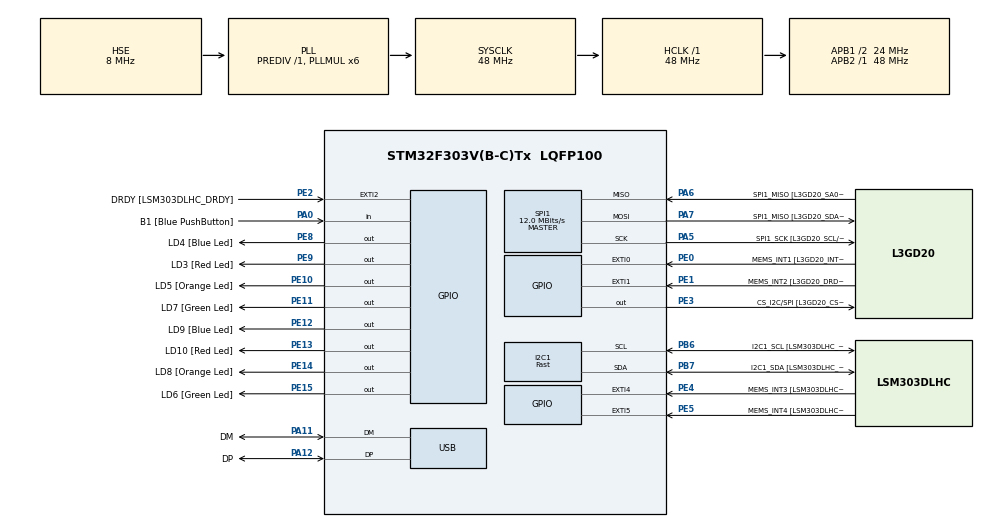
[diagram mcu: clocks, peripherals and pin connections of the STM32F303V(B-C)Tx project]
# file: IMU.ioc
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I2C1.I2C_Speed_Mode=I2C_Fast
I2C1.Timing=0x0000020B
I2C1.Timing-I2C=0x2000090E
Mcu.Family=STM32F3
Mcu.Name=STM32F303V(B-C)Tx
Mcu.Package=LQFP100
NVIC.PriorityGroup=NVIC_PRIORITYGROUP_0
NVIC.USB_LP_CAN_RX0_IRQn=true\:0\:0\:false\:false\:true\:false\:true
PA0.GPIO_Label=B1 [Blue PushButton]
PA0.Signal=GPIO_Input
PA11.GPIO_Label=DM
PA11.Mode=Device
PA11.Signal=USB_DM
PA12.GPIO_Label=DP
PA12.Mode=Device
PA12.Signal=USB_DP
PA13.GPIO_Label=SWDIO
PA13.Mode=Serial_Wire
PA13.Signal=SYS_JTMS-SWDIO
PA14.GPIO_Label=SWCLK
PA14.Mode=Serial_Wire
PA14.Signal=SYS_JTCK-SWCLK
PA5.GPIO_Label=SPI1_SCK [L3GD20_SCL/SPC]
PA5.Mode=Full_Duplex_Master
PA5.Signal=SPI1_SCK
PA6.GPIO_Label=SPI1_MISO [L3GD20_SA0/SDO]
PA6.Mode=Full_Duplex_Master
PA6.Signal=SPI1_MISO
PA7.GPIO_Label=SPI1_MISO [L3GD20_SDA/SDI/SDO]
PA7.Mode=Full_Duplex_Master
PA7.Signal=SPI1_MOSI
PB3.GPIO_Label=SWO
PB3.Signal=SYS_JTDO-TRACESWO
PB6.GPIO_Label=I2C1_SCL [LSM303DLHC_SCL]
PB6.Mode=I2C
PB6.Signal=I2C1_SCL
PB7.GPIO_Label=I2C1_SDA [LSM303DLHC_SDA]
PB7.Mode=I2C
PB7.Signal=I2C1_SDA
PC14-OSC32_IN.GPIO_Label=OSC32_IN
PC14-OSC32_IN.Signal=RCC_OSC32_IN
PC15-OSC32_OUT.GPIO_Label=OSC32_OUT
PC15-OSC32_OUT.Signal=RCC_OSC32_OUT
PE0.GPIO_Label=MEMS_INT1 [L3GD20_INT1]
PE0.GPIO_ModeDefaultEXTI=GPIO_MODE_EVT_RISING
PE0.Signal=GPXTI0
PE1.GPIO_Label=MEMS_INT2 [L3GD20_DRDY/INT2]
PE1.GPIO_ModeDefaultEXTI=GPIO_MODE_EVT_RISING
PE1.Signal=GPXTI1
PE10.GPIO_Label=LD5 [Orange Led]
PE10.Signal=GPIO_Output
PE11.GPIO_Label=LD7 [Green Led]
PE11.Signal=GPIO_Output
PE12.GPIO_Label=LD9 [Blue Led]
PE12.Signal=GPIO_Output
PE13.GPIO_Label=LD10 [Red Led]
PE13.Signal=GPIO_Output
PE14.GPIO_Label=LD8 [Orange Led]
PE14.Signal=GPIO_Output
PE15.GPIO_Label=LD6 [Green Led]
PE15.Signal=GPIO_Output
PE2.GPIO_Label=DRDY [LSM303DLHC_DRDY]
PE2.GPIO_ModeDefaultEXTI=GPIO_MODE_EVT_RISING
PE2.Signal=GPXTI2
PE3.GPIO_Label=CS_I2C/SPI [L3GD20_CS_I2C/SPI]
PE3.Signal=GPIO_Output
PE4.GPIO_Label=MEMS_INT3 [LSM303DLHC_INT1]
PE4.GPIO_ModeDefaultEXTI=GPIO_MODE_EVT_RISING
PE4.Signal=GPXTI4
PE5.GPIO_Label=MEMS_INT4 [LSM303DLHC_INT2]
PE5.GPIO_ModeDefaultEXTI=GPIO_MODE_EVT_RISING
PE5.Signal=GPXTI5
PE8.GPIO_Label=LD4 [Blue Led]
PE8.Signal=GPIO_Output
PE9.GPIO_Label=LD3 [Red Led]
PE9.Signal=GPIO_Output
PF0-OSC_IN.GPIO_Label=OSC_IN
PF0-OSC_IN.Mode=HSE-External-Clock-Source
PF0-OSC_IN.Signal=RCC_OSC_IN
PF1-OSC_OUT.GPIO_Label=OSC_OUT
PF1-OSC_OUT.Signal=RCC_OSC_OUT
ProjectManager.HeapSize=0x200
ProjectManager.StackSize=0x400
ProjectManager.TargetToolchain=STM32CubeIDE
RCC.AHBFreq_Value=48000000
RCC.APB1CLKDivider=RCC_HCLK_DIV2
RCC.APB1Freq_Value=24000000
RCC.APB1TimFreq_Value=48000000
RCC.APB2Freq_Value=48000000
RCC.APB2TimFreq_Value=48000000
RCC.CortexFreq_Value=48000000
RCC.HCLKFreq_Value=48000000
RCC.HSE_VALUE=8000000
RCC.HSI_VALUE=8000000
RCC.LSE_VALUE=32768
RCC.PLLMUL=RCC_PLL_MUL6
RCC.SYSCLKFreq_VALUE=48000000
RCC.SYSCLKSourceVirtual=RCC_SYSCLKSOURCE_PLLCLK
RCC.USBFreq_Value=48000000
SPI1.BaudRatePrescaler=SPI_BAUDRATEPRESCALER_4
SPI1.BaudRatePrescaler-Full_Duplex_Master=SPI_BAUDRATEPRESCALER_2
SPI1.CalculateBaudRate=12.0 MBits/s
SPI1.CalculateBaudRate-Full_Duplex_Master=24.0 MBits/s
SPI1.Direction=SPI_DIRECTION_2LINES
SPI1.Mode=SPI_MODE_MASTER
SPI1.Mode-Full_Duplex_Master=SPI_MODE_MASTER
SPI1.VirtualType=VM_MASTER
USB_DEVICE.CLASS_NAME_FS=CDC
USB_DEVICE.PRODUCT_STRING_CDC_FS=myIMU
USB_DEVICE.VirtualMode=Cdc
USB_DEVICE.VirtualModeFS=Cdc_FS
VP_USB_DEVICE_VS_USB_DEVICE_CDC_FS.Mode=CDC_FS
board=STM32F3DISCOVERY

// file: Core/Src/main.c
/* USER CODE BEGIN Header */
/**
  ******************************************************************************
  * @file           : main.c
  * @brief          : Main program body
  ******************************************************************************
  * @attention
  *
  * <h2><center>&copy; Copyright (c) 2021 STMicroelectronics.
  * All rights reserved.</center></h2>
  *
  * This software component is licensed by ST under BSD 3-Clause license,
  * the "License"; You may not use this file except in compliance with the
  * License. You may obtain a copy of the License at:
  *                        opensource.org/licenses/BSD-3-Clause
  *
  ******************************************************************************
  */
/* USER CODE END Header */
#include "main.h"
#include "usb_device.h"

/* USER CODE BEGIN Includes */
#include "usbd_cdc_if.h"
/* USER CODE END Includes */

I2C_HandleTypeDef hi2c1;

SPI_HandleTypeDef hspi1;

void SystemClock_Config(void);
static void MX_GPIO_Init(void);
static void MX_I2C1_Init(void);
static void MX_SPI1_Init(void);
/* USER CODE BEGIN PFP */

uint8_t i2c1_pisiRegister(uint8_t, uint8_t, uint8_t);
void i2c1_beriRegistre(uint8_t, uint8_t, uint8_t*, uint8_t);
void initLSM303DLHC(void);
void HAL_GPIO_EXTI_Callback(uint16_t GPIO_Pin);

char jsonBuffer[1000] = {"{\"msg\": \"okay, i work\"}\n\r"};
int8_t xa [2] = {}, ya [2] = {}, za [2] = {};
int16_t buffer[] = {0xaaab,0,0,0,0};

/* USER CODE END PFP */

/* USER CODE BEGIN 0 */
uint8_t i2c1_write(uint8_t naprava, uint8_t reg, uint8_t podatek)
{
  naprava <<= 1;
  return HAL_I2C_Mem_Write(&hi2c1, naprava, reg, I2C_MEMADD_SIZE_8BIT, &podatek, 1, 10);
}

void i2c1_read(uint8_t naprava, uint8_t reg, uint8_t* podatek, uint8_t dolzina)
{
  if ((dolzina > 1)&&(naprava == 0x19))
    reg |= 0x80;
  naprava <<= 1;
  HAL_I2C_Mem_Read(&hi2c1, naprava, reg, I2C_MEMADD_SIZE_8BIT, podatek, dolzina, dolzina);
}

void initLSM303DLHC()
{
  i2c1_write(0x1e, 0x4f, 0x73);// Izbira senzorja
  HAL_Delay(100);
  i2c1_write(0x19, 0x20, 0x47);// 50Hz, ZYX enabled
  i2c1_write(0x19, 0x23, 0x98);// BlockDataUpdate, +-4g, HighRes
  i2c1_write(0x19, 0x22, 0x10);// Interrupt INT1 DRDY
}

/* USER CODE END 0 */

int main(void)
{

  /* MCU Configuration--------------------------------------------------------*/

  /* Reset of all peripherals, Initializes the Flash interface and the Systick. */
  HAL_Init();

  /* Configure the system clock */
  SystemClock_Config();

  /* Initialize all configured peripherals */
  MX_GPIO_Init();
  MX_I2C1_Init();
  MX_SPI1_Init();
  MX_USB_DEVICE_Init();
  /* USER CODE BEGIN 2 */
  __HAL_I2C_ENABLE(&hi2c1);
  /* USER CODE END 2 */

  /* Infinite loop */
  /* USER CODE BEGIN WHILE */
  /*
     int16_t packetNo = 0;
     int8_t btnCtrl = 0;
     int8_t modeCtrl = 0;
     GPIOE->BRR = 0xFF00;

     char packetNoBuffer[20] = {};
     char jsonBuffer [200] = {};
     char floatBuffer [20] = {};

     double value = 8000 / (pow(2,16) - 1);
*/
    while (1)	// CTRL + SHIFT + F
    {
    	//GPIOE->BSRR = 0x400;

    	CDC_Transmit_FS((uint8_t*)&jsonBuffer, strlen(jsonBuffer));
    	HAL_Delay(1000);

    	/*
  	  	// Kontrola gumbov
  		if (HAL_GPIO_ReadPin(GPIOA, GPIO_PIN_0) && btnCtrl == 0) {
  			GPIOE->BRR = 0xFF00;
  			if (++modeCtrl >= 4) modeCtrl = 0;
  			btnCtrl = 1;
  		} else if (!HAL_GPIO_ReadPin(GPIOA, GPIO_PIN_0) && btnCtrl == 1) {
  			btnCtrl = 0;
  		}

  		HAL_Delay(100);
  		i2c1_read(0x19, 0x28, (uint8_t*)&xa[0], 4);
  		i2c1_read(0x19, 0x29, (uint8_t*)&xa[1], 8);
  		buffer[2] = *((int16_t*)xa);

  		i2c1_read(0x19, 0x2a, (uint8_t*)&ya[0], 4);
  		i2c1_read(0x19, 0x2b, (uint8_t*)&ya[1], 8);
  		buffer[3] = *((int16_t*)ya);

  		i2c1_read(0x19, 0x2c, (uint8_t*)&za[0], 4);
  		i2c1_read(0x19, 0x2d, (uint8_t*)&za[1], 8);
  		buffer[4] = *((int16_t*)za);

  		if (modeCtrl == 1) {
  			GPIOE->BSRR = 0x1000;
  			buffer[1] = packetNo++;
  			CDC_Transmit_FS((uint8_t*)&buffer, 10);

  		} else if (modeCtrl == 3) {
  			GPIOE->BSRR = 0x4000;
  			strcat(jsonBuffer, "{\"ACC\":");
  			snprintf(packetNoBuffer, sizeof packetNoBuffer, "%d", packetNo++);
  			strcat(jsonBuffer,packetNoBuffer);
  			strcat(jsonBuffer, ", \"X\":");
  			snprintf(floatBuffer, sizeof floatBuffer, "%.3f", ((float)buffer[2] * value)/1000);
  			strcat(jsonBuffer, floatBuffer);
  			floatBuffer[0] = '\0';
  			strcat(jsonBuffer, ", \"Y\":");
  			snprintf(floatBuffer, sizeof floatBuffer, "%.3f", ((float)buffer[3] * value)/1000);
  			strcat(jsonBuffer, floatBuffer);
  			floatBuffer[0] = '\0';
  			strcat(jsonBuffer, ", \"Z\":");
  			snprintf(floatBuffer, sizeof floatBuffer, "%.3f", ((float)buffer[4] * value)/1000);
  			strcat(jsonBuffer, floatBuffer);
  			strcat(jsonBuffer, "}\n\r");
  			CDC_Transmit_FS((uint8_t*)&jsonBuffer, strlen(jsonBuffer));
  			packetNoBuffer[0] = '\0';
  			jsonBuffer[0] = '\0';
  			floatBuffer[0] = '\0';
  		}
  		else {
  			GPIOE->BSRR = 0x2000;
  		}
		*/
    /* USER CODE END WHILE */

  }
}

void SystemClock_Config(void)
{
  RCC_OscInitTypeDef RCC_OscInitStruct = {0};
  RCC_ClkInitTypeDef RCC_ClkInitStruct = {0};
  RCC_PeriphCLKInitTypeDef PeriphClkInit = {0};

  /** Initializes the RCC Oscillators according to the specified parameters
  * in the RCC_OscInitTypeDef structure.
  */
  RCC_OscInitStruct.OscillatorType = RCC_OSCILLATORTYPE_HSI|RCC_OSCILLATORTYPE_HSE;
  RCC_OscInitStruct.HSEState = RCC_HSE_BYPASS;
  RCC_OscInitStruct.HSEPredivValue = RCC_HSE_PREDIV_DIV1;
  RCC_OscInitStruct.HSIState = RCC_HSI_ON;
  RCC_OscInitStruct.HSICalibrationValue = RCC_HSICALIBRATION_DEFAULT;
  RCC_OscInitStruct.PLL.PLLState = RCC_PLL_ON;
  RCC_OscInitStruct.PLL.PLLSource = RCC_PLLSOURCE_HSE;
  RCC_OscInitStruct.PLL.PLLMUL = RCC_PLL_MUL6;
  if (HAL_RCC_OscConfig(&RCC_OscInitStruct) != HAL_OK)
  {
    Error_Handler();
  }
  /** Initializes the CPU, AHB and APB buses clocks
  */
  RCC_ClkInitStruct.ClockType = RCC_CLOCKTYPE_HCLK|RCC_CLOCKTYPE_SYSCLK
                              |RCC_CLOCKTYPE_PCLK1|RCC_CLOCKTYPE_PCLK2;
  RCC_ClkInitStruct.SYSCLKSource = RCC_SYSCLKSOURCE_PLLCLK;
  RCC_ClkInitStruct.AHBCLKDivider = RCC_SYSCLK_DIV1;
  RCC_ClkInitStruct.APB1CLKDivider = RCC_HCLK_DIV2;
  RCC_ClkInitStruct.APB2CLKDivider = RCC_HCLK_DIV1;

  if (HAL_RCC_ClockConfig(&RCC_ClkInitStruct, FLASH_LATENCY_1) != HAL_OK)
  {
    Error_Handler();
  }
  PeriphClkInit.PeriphClockSelection = RCC_PERIPHCLK_USB|RCC_PERIPHCLK_I2C1;
  PeriphClkInit.I2c1ClockSelection = RCC_I2C1CLKSOURCE_HSI;
  PeriphClkInit.USBClockSelection = RCC_USBCLKSOURCE_PLL;
  if (HAL_RCCEx_PeriphCLKConfig(&PeriphClkInit) != HAL_OK)
  {
    Error_Handler();
  }
}

static void MX_I2C1_Init(void)
{

  hi2c1.Instance = I2C1;
  hi2c1.Init.Timing = 0x0000020B;
  hi2c1.Init.OwnAddress1 = 0;
  hi2c1.Init.AddressingMode = I2C_ADDRESSINGMODE_7BIT;
  hi2c1.Init.DualAddressMode = I2C_DUALADDRESS_DISABLE;
  hi2c1.Init.OwnAddress2 = 0;
  hi2c1.Init.OwnAddress2Masks = I2C_OA2_NOMASK;
  hi2c1.Init.GeneralCallMode = I2C_GENERALCALL_DISABLE;
  hi2c1.Init.NoStretchMode = I2C_NOSTRETCH_DISABLE;
  if (HAL_I2C_Init(&hi2c1) != HAL_OK)
  {
    Error_Handler();
  }
  /** Configure Analogue filter
  */
  if (HAL_I2CEx_ConfigAnalogFilter(&hi2c1, I2C_ANALOGFILTER_ENABLE) != HAL_OK)
  {
    Error_Handler();
  }
  /** Configure Digital filter
  */
  if (HAL_I2CEx_ConfigDigitalFilter(&hi2c1, 0) != HAL_OK)
  {
    Error_Handler();
  }

}

static void MX_SPI1_Init(void)
{

  /* SPI1 parameter configuration*/
  hspi1.Instance = SPI1;
  hspi1.Init.Mode = SPI_MODE_MASTER;
  hspi1.Init.Direction = SPI_DIRECTION_2LINES;
  hspi1.Init.DataSize = SPI_DATASIZE_4BIT;
  hspi1.Init.CLKPolarity = SPI_POLARITY_LOW;
  hspi1.Init.CLKPhase = SPI_PHASE_1EDGE;
  hspi1.Init.NSS = SPI_NSS_SOFT;
  hspi1.Init.BaudRatePrescaler = SPI_BAUDRATEPRESCALER_4;
  hspi1.Init.FirstBit = SPI_FIRSTBIT_MSB;
  hspi1.Init.TIMode = SPI_TIMODE_DISABLE;
  hspi1.Init.CRCCalculation = SPI_CRCCALCULATION_DISABLE;
  hspi1.Init.CRCPolynomial = 7;
  hspi1.Init.CRCLength = SPI_CRC_LENGTH_DATASIZE;
  hspi1.Init.NSSPMode = SPI_NSS_PULSE_ENABLE;
  if (HAL_SPI_Init(&hspi1) != HAL_OK)
  {
    Error_Handler();
  }

}

static void MX_GPIO_Init(void)
{
  GPIO_InitTypeDef GPIO_InitStruct = {0};

  /* GPIO Ports Clock Enable */
  __HAL_RCC_GPIOE_CLK_ENABLE();
  __HAL_RCC_GPIOC_CLK_ENABLE();
  __HAL_RCC_GPIOF_CLK_ENABLE();
  __HAL_RCC_GPIOA_CLK_ENABLE();
  __HAL_RCC_GPIOB_CLK_ENABLE();

  /*Configure GPIO pin Output Level */
  HAL_GPIO_WritePin(GPIOE, CS_I2C_SPI_Pin|LD4_Pin|LD3_Pin|LD5_Pin
                          |LD7_Pin|LD9_Pin|LD10_Pin|LD8_Pin
                          |LD6_Pin, GPIO_PIN_RESET);

  /*Configure GPIO pins : DRDY_Pin MEMS_INT3_Pin MEMS_INT4_Pin MEMS_INT1_Pin
                           MEMS_INT2_Pin */
  GPIO_InitStruct.Pin = DRDY_Pin|MEMS_INT3_Pin|MEMS_INT4_Pin|MEMS_INT1_Pin
                          |MEMS_INT2_Pin;
  GPIO_InitStruct.Mode = GPIO_MODE_EVT_RISING;
  GPIO_InitStruct.Pull = GPIO_NOPULL;
  HAL_GPIO_Init(GPIOE, &GPIO_InitStruct);

  /*Configure GPIO pins : CS_I2C_SPI_Pin LD4_Pin LD3_Pin LD5_Pin
                           LD7_Pin LD9_Pin LD10_Pin LD8_Pin
                           LD6_Pin */
  GPIO_InitStruct.Pin = CS_I2C_SPI_Pin|LD4_Pin|LD3_Pin|LD5_Pin
                          |LD7_Pin|LD9_Pin|LD10_Pin|LD8_Pin
                          |LD6_Pin;
  GPIO_InitStruct.Mode = GPIO_MODE_OUTPUT_PP;
  GPIO_InitStruct.Pull = GPIO_NOPULL;
  GPIO_InitStruct.Speed = GPIO_SPEED_FREQ_LOW;
  HAL_GPIO_Init(GPIOE, &GPIO_InitStruct);

  /*Configure GPIO pin : B1_Pin */
  GPIO_InitStruct.Pin = B1_Pin;
  GPIO_InitStruct.Mode = GPIO_MODE_INPUT;
  GPIO_InitStruct.Pull = GPIO_NOPULL;
  HAL_GPIO_Init(B1_GPIO_Port, &GPIO_InitStruct);

}

void Error_Handler(void)
{
}

/************************ (C) COPYRIGHT STMicroelectronics *****END OF FILE****/
